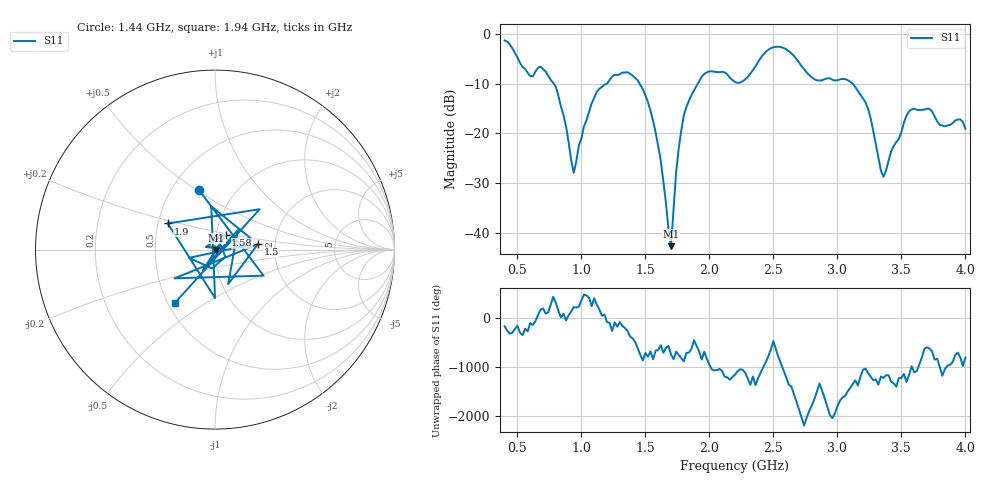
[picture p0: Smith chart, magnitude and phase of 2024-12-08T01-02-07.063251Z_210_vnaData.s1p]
!Created with skrf (http://scikit-rf.org).
# Hz S RI R 50.0
!freq ReS11 ImS11
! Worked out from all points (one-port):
!   181 points, 400 MHz to 4 GHz, reference 50 ohm
!   lowest |S11| = -42.7 dB at 1.7 GHz (marker M1), VSWR 1.01, Z = 50.7 - j0.284 ohm
!   |S11| at or under -10 dB: 783.8 MHz to 1.2 GHz (416.7 MHz wide, 42 % of centre); 1.454 GHz to 1.909 GHz (454.9 MHz wide, 27 % of centre); 3.118 GHz to end of sweep
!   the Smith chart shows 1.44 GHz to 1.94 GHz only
!   S11 on the Smith chart (normalised r, x): 1.44 GHz: 0.68, +0.51; 1.5 GHz: 1.62, +0.10; 1.58 GHz: 1.11, +0.19; 1.9 GHz: 0.56, +0.18; 1.94 GHz: 0.54, -0.37
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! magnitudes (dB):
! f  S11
! 400 MHz  -1.3
! 600 MHz  -8.5
! 720 MHz  -7.6
! 800 MHz  -10.6
! 860 MHz  -16.3
! 940 MHz  -28.0
! 1.02 GHz  -18.6
! 1.12 GHz  -11.6
! 1.3 GHz  -8.1
! 1.44 GHz  -9.3
! 1.5 GHz  -12.4
! 1.58 GHz  -19.8
! 1.62 GHz  -25.5
! 1.7 GHz  -42.7
! 1.74 GHz  -27.9
! 1.76 GHz  -23.1
! 1.8 GHz  -16.4
! 1.9 GHz  -10.4
! 1.94 GHz  -8.6
! 2.2 GHz  -9.7
! 2.48 GHz  -2.9
! 2.66 GHz  -4.4
! 2.82 GHz  -9.1
! 3.1 GHz  -9.6
! 3.24 GHz  -15.1
! 3.36 GHz  -28.8
! 3.56 GHz  -15.6
! 4 GHz  -19.1
